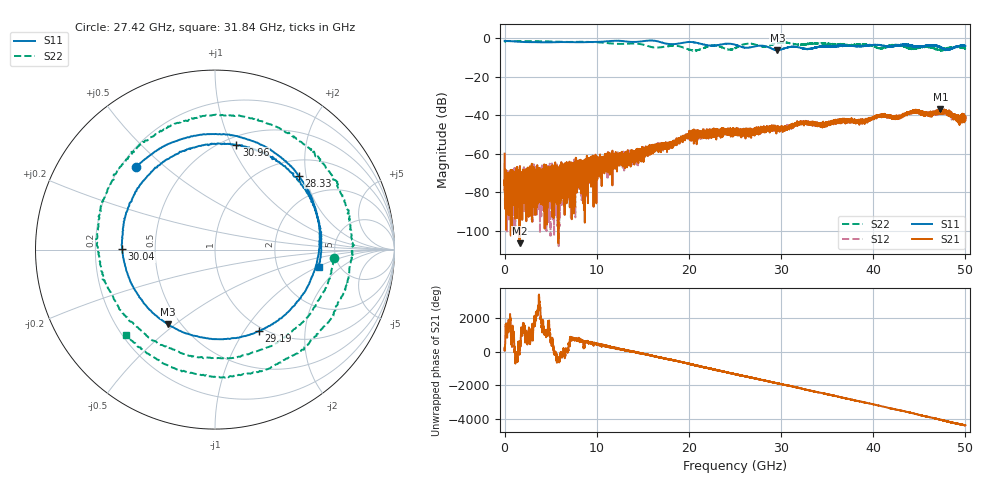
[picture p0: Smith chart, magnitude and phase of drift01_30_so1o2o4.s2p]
!Created with skrf (http://scikit-rf.org).
# Hz S RI R 50.0
!freq ReS11 ImS11 ReS21 ImS21 ReS12 ImS12 ReS22 ImS22
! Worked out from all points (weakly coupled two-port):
!   10001 points, 300 kHz to 50 GHz, reference 50 ohm
!   highest |S21| = -36.76 dB at 47.28 GHz (marker M1); lowest = -106.6 dB at 1.62 GHz (marker M2)
!   lowest |S11| = -6.2 dB at 29.61 GHz (marker M3), VSWR 2.93, Z = 21.6 - j23.6 ohm
!   |S11| at or under -10 dB: nowhere
!   |S22| runs from -6.5 to -1.4 dB; largest |S21 - S12| = 0.004
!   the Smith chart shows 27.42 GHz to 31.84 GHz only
!   S11 on the Smith chart (normalised r, x): 27.42 GHz: 0.26, +0.40; 28.33 GHz: 1.34, +1.81; 29.19 GHz: 0.94, -1.17; 30.04 GHz: 0.32, +0.00; 30.96 GHz: 0.58, +1.04; 31.84 GHz: 3.50, -1.04
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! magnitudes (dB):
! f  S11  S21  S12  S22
! 300 kHz  -1.3  -59.9  -65.1  -2.1
! 255.3 MHz  -1.4  -73.3  -85.2  -1.4
! 1.62 GHz  -1.8  -106.6  -73.4  -1.4
! 3.625 GHz  -2.0  -72.9  -70.5  -1.5
! 8.335 GHz  -2.0  -64.7  -69.9  -1.8
! 11.67 GHz  -1.4  -62.7  -64.3  -2.7
! 14.24 GHz  -1.8  -60.3  -61.0  -2.8
! 16.67 GHz  -1.6  -56.8  -56.8  -4.8
! 20.3 GHz  -1.9  -53.2  -52.7  -6.2
! 22.61 GHz  -3.9  -47.6  -48.0  -3.8
! 25 GHz  -3.3  -48.1  -49.8  -5.1
! 27.42 GHz  -3.9  -49.6  -47.6  -3.6
! 28.33 GHz  -4.1  -47.1  -46.5  -4.3
! 29.19 GHz  -5.8  -47.0  -46.7  -3.1
! 29.61 GHz  -6.2  -46.3  -47.4  -2.5
! 30.04 GHz  -5.7  -47.0  -47.7  -2.3
! 30.96 GHz  -4.5  -46.5  -45.5  -2.5
! 31.84 GHz  -4.6  -44.5  -44.3  -3.3
! 33.34 GHz  -5.2  -43.2  -44.4  -2.6
! 41.67 GHz  -4.4  -40.4  -40.3  -4.2
! 47.28 GHz  -4.6  -36.8  -38.1  -5.9
! 50 GHz  -3.9  -41.3  -41.2  -5.4
